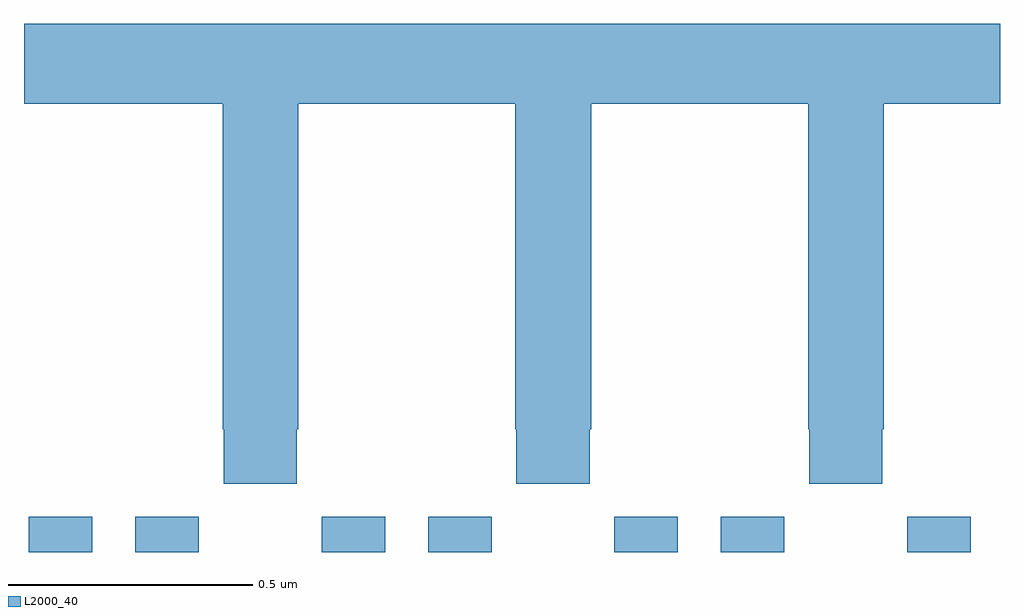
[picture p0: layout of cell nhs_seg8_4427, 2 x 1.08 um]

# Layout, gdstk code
import gdstk
lib = gdstk.Library(unit=1e-6, precision=1e-09)
def R(c, l, rs):  # rectangles x0, y0, x1, y1
    for r in rs: c.add(gdstk.rectangle(r[:2], r[2:], *l))
def P(c, l, *ps):  # polygons
    for p in ps: c.add(gdstk.Polygon(p, *l))
L2000_40 = (2000, 40)

nhs_seg8_4427 = lib.new_cell('nhs_seg8_4427')
R(nhs_seg8_4427, L2000_40, [(170.01,1128.9,170.14,1128.973), (170.228,1128.9,170.358,1128.973), (170.61,1128.9,170.74,1128.973), (170.828,1128.9,170.958,1128.973), (171.21,1128.9,171.34,1128.973), (171.428,1128.9,171.558,1128.973), (171.81,1128.9,171.94,1128.973)])
P(nhs_seg8_4427, L2000_40, [(170.559,1129.153),(170.562,1129.153),(170.562,1129.82),(171.007,1129.82),(171.007,1129.153),(171.009,1129.153),(171.009,1129.041),(171.159,1129.041),(171.159,1129.153),(171.162,1129.153),(171.162,1129.82),(171.607,1129.82),(171.607,1129.153),(171.609,1129.153),(171.609,1129.041),(171.759,1129.041),(171.759,1129.153),(171.762,1129.153),(171.762,1129.82),(172,1129.82),(172,1129.984),(170,1129.984),(170,1129.82),(170.407,1129.82),(170.407,1129.153),(170.409,1129.153),(170.409,1129.041),(170.559,1129.041)])

lib.write_gds('nhs_seg8_4427.gds')
